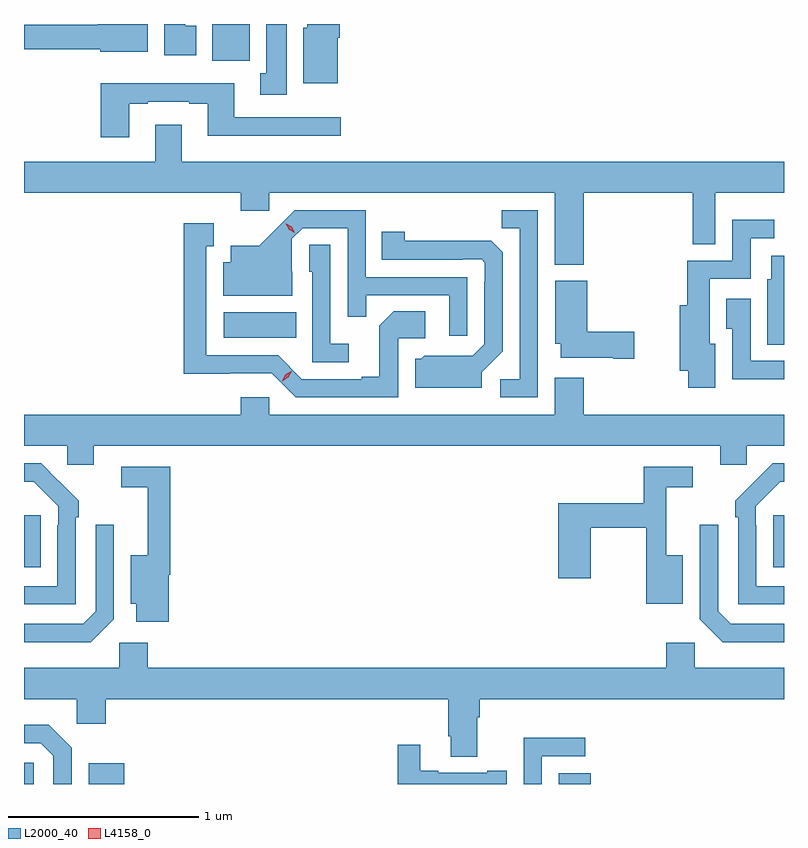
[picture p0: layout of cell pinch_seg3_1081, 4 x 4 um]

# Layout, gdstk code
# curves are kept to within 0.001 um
import gdstk
lib = gdstk.Library(unit=1e-6, precision=1e-09)
def R(c, l, rs):  # rectangles x0, y0, x1, y1
    for r in rs: c.add(gdstk.rectangle(r[:2], r[2:], *l))
def P(c, l, *ps):  # polygons
    for p in ps: c.add(gdstk.Polygon(p, *l))
L2000_40 = (2000, 40)
L4158_0 = (4158, 0)

pinch_seg3_1081 = lib.new_cell('pinch_seg3_1081')
R(pinch_seg3_1081, L2000_40, [(327.244,673.829,327.294,673.941), (327.584,673.829,327.772,673.939), (330.059,673.829,330.226,673.885), (327.244,674.969,327.331,675.244), (331.187,674.969,331.244,675.244), (328.296,676.178,328.676,676.312), (328.235,677.636,328.432,677.829)])
P(pinch_seg3_1081, L2000_40, [(327.895,677.829),(327.632,677.829),(327.632,677.824),(327.244,677.824),(327.244,677.695),(327.644,677.695),(327.644,677.684),(327.895,677.684)],
  [(328.627,677.829),(328.52,677.829),(328.52,677.57),(328.487,677.57),(328.487,677.457),(328.627,677.457)],
  [(328.894,677.756),(328.907,677.756),(328.907,677.829),(328.736,677.829),(328.736,677.808),(328.715,677.808),(328.715,677.516),(328.894,677.516)],
  [(328.15,677.82),(328.093,677.82),(328.093,677.829),(327.983,677.829),(327.983,677.664),(328.15,677.664)],
  [(327.799,677.409),(327.895,677.409),(327.895,677.421),(328.115,677.421),(328.115,677.409),(328.211,677.409),(328.211,677.24),(328.912,677.24),(328.912,677.337),(328.351,677.337),(328.351,677.518),(327.647,677.518),(327.647,677.232),(327.799,677.232)],
  [(330.191,676.94),(330.765,676.94),(330.765,676.669),(330.883,676.669),(330.883,676.94),(331.244,676.94),(331.244,677.104),(328.075,677.104),(328.075,677.299),(327.935,677.299),(327.935,677.104),(327.244,677.104),(327.244,676.94),(328.385,676.94),(328.385,676.845),(328.536,676.845),(328.536,676.94),(330.038,676.94),(330.038,676.562),(330.191,676.562)],
  [(329.949,676.848),(329.758,676.848),(329.758,676.753),(329.853,676.753),(329.853,675.96),(329.751,675.96),(329.751,675.864),(329.949,675.864)],
  [(329.577,676.497),(329.043,676.497),(329.043,676.848),(328.67,676.848),(328.483,676.663),(328.331,676.663),(328.331,676.576),(328.292,676.576),(328.292,676.4),(328.657,676.4),(328.657,676.524),(328.653,676.524),(328.653,676.698),(328.71,676.755),(328.947,676.755),(328.947,676.288),(329.045,676.288),(329.045,676.401),(329.481,676.401),(329.481,676.188),(329.577,676.188)],
  [(330.883,676.147),(330.853,676.147),(330.853,676.488),(331.068,676.488),(331.068,676.701),(331.192,676.701),(331.192,676.798),(330.972,676.798),(330.972,676.584),(330.735,676.584),(330.735,676.348),(330.695,676.348),(330.695,676.004),(330.74,676.004),(330.74,675.915),(330.883,675.915)],
  [(329.214,676.176),(329.356,676.176),(329.356,676.316),(329.191,676.316),(329.115,676.24),(329.115,675.973),(329.021,675.973),(329.021,675.96),(328.707,675.96),(328.581,676.086),(328.204,676.086),(328.204,676.659),(328.243,676.659),(328.243,676.78),(328.086,676.78),(328.086,675.989),(328.548,675.99),(328.674,675.864),(329.214,675.864)],
  [(329.653,675.996),(329.763,676.106),(329.763,676.628),(329.704,676.687),(329.247,676.688),(329.247,676.735),(329.128,676.735),(329.128,676.587),(329.552,676.587),(329.552,676.59),(329.652,676.59),(329.67,676.572),(329.67,676.472),(329.667,676.472),(329.667,676.143),(329.607,676.083),(329.35,676.084),(329.334,676.068),(329.303,676.068),(329.303,675.914),(329.653,675.914)],
  [(328.954,676.147),(328.857,676.147),(328.857,676.667),(328.746,676.667),(328.746,676.524),(328.761,676.524),(328.761,676.05),(328.954,676.05)],
  [(331.244,676.609),(331.178,676.609),(331.178,676.485),(331.157,676.485),(331.157,676.141),(331.244,676.141)],
  [(330.457,676.208),(330.208,676.208),(330.208,676.477),(330.041,676.477),(330.041,676.146),(330.068,676.146),(330.068,676.073),(330.344,676.073),(330.344,676.066),(330.457,676.066)],
  [(331.193,675.96),(331.244,675.96),(331.244,676.056),(331.068,676.056),(331.068,676.384),(330.941,676.384),(330.941,676.225),(330.972,676.225),(330.972,675.959),(331.193,675.959)],
  [(327.61,675.608),(330.908,675.608),(330.908,675.51),(331.047,675.51),(331.047,675.608),(331.244,675.608),(331.244,675.772),(330.191,675.772),(330.191,675.967),(330.038,675.967),(330.038,675.772),(328.536,675.772),(328.536,675.865),(328.385,675.865),(328.385,675.772),(327.244,675.772),(327.244,675.608),(327.471,675.608),(327.471,675.51),(327.61,675.51)],
  [(327.516,675.233),(327.531,675.233),(327.531,675.321),(327.334,675.516),(327.244,675.516),(327.244,675.42),(327.295,675.42),(327.423,675.291),(327.423,675.191),(327.42,675.191),(327.42,674.871),(327.244,674.871),(327.244,674.775),(327.516,674.775)],
  [(331.244,674.871),(331.098,674.871),(331.098,675.191),(331.095,675.191),(331.095,675.291),(331.224,675.42),(331.244,675.42),(331.244,675.516),(331.184,675.516),(330.987,675.321),(330.987,675.233),(331.002,675.233),(331.002,674.775),(331.244,674.775)],
  [(328.007,674.93),(328.013,674.93),(328.013,675.498),(327.756,675.498),(327.756,675.39),(327.896,675.39),(327.896,675.034),(327.806,675.034),(327.806,674.777),(327.836,674.777),(327.836,674.682),(328.007,674.682)],
  [(330.712,675.034),(330.623,675.034),(330.623,675.39),(330.763,675.39),(330.763,675.498),(330.505,675.498),(330.505,675.307),(330.056,675.307),(330.056,674.913),(330.226,674.913),(330.226,675.178),(330.52,675.178),(330.52,674.777),(330.712,674.777)],
  [(327.717,674.697),(327.717,675.193),(327.621,675.193),(327.621,674.739),(327.555,674.673),(327.244,674.673),(327.244,674.576),(327.596,674.576)],
  [(331.244,674.673),(330.963,674.673),(330.897,674.739),(330.897,675.193),(330.801,675.193),(330.801,674.697),(330.922,674.576),(331.244,674.576)],
  [(329.629,674.18),(329.642,674.18),(329.642,674.276),(331.244,674.276),(331.244,674.44),(330.774,674.44),(330.774,674.572),(330.623,674.572),(330.623,674.44),(327.896,674.44),(327.896,674.572),(327.744,674.572),(327.744,674.44),(327.244,674.44),(327.244,674.276),(327.522,674.276),(327.522,674.145),(327.674,674.145),(327.674,674.276),(329.477,674.276),(329.477,674.08),(329.489,674.08),(329.489,673.972),(329.629,673.972)],
  [(327.495,674.019),(327.374,674.14),(327.244,674.14),(327.244,674.043),(327.333,674.043),(327.399,673.977),(327.399,673.829),(327.495,673.829)],
  [(329.97,673.974),(330.199,673.974),(330.199,674.072),(329.874,674.072),(329.874,673.829),(329.97,673.829)],
  [(329.785,673.9),(329.681,673.9),(329.681,673.887),(329.425,673.887),(329.425,673.9),(329.329,673.9),(329.329,674.035),(329.212,674.035),(329.212,673.829),(329.785,673.829)])
P(pinch_seg3_1081, L4158_0, [(328.67,676.731),(328.639,676.747),(328.622,676.777),(328.622,676.778),(328.623,676.778),(328.653,676.761),(328.67,676.731),(328.67,676.731)],
  [(328.603,675.949),(328.603,675.95),(328.62,675.982),(328.651,676.002),(328.652,676.002),(328.652,676.002),(328.635,675.969),(328.603,675.949)])

lib.write_gds('pinch_seg3_1081.gds')
